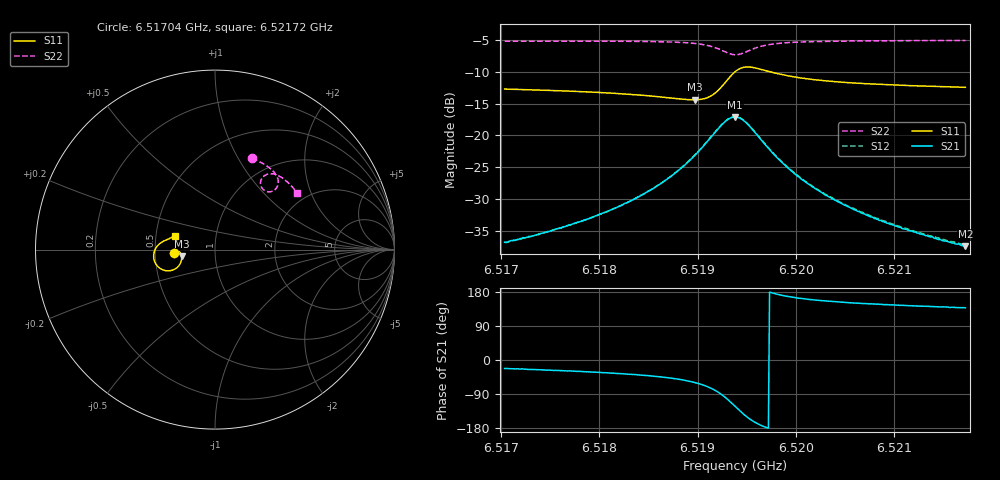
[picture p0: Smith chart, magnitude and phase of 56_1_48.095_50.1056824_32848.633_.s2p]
#  HZ  S  RI  R  50.00
! Rohde & Schwarz Vector Network Analyzer
! Rohde-Schwarz,ZNB20-2Port,1311601062101988,3.16
! Created: UTC 12/23/2023, 3:40:16 AM
! freq[Hz]  re:S11  im:S11  re:S21  im:S21  re:S12  im:S12  re:S22  im:S22
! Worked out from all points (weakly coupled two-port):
!   401 points, 6.51704 GHz to 6.52172 GHz, reference 50 ohm
!   highest |S21| = -17.10 dB at 6.51938 GHz (marker M1); lowest = -37.4 dB at 6.52172 GHz (marker M2)
!   lowest |S11| = -14.4 dB at 6.518971 GHz (marker M3), VSWR 1.47, Z = 34.2 - j2.59 ohm
!   |S11| at or under -10 dB: start of sweep to 6.519382 GHz; 6.519732 GHz to end of sweep
!   |S22| runs from -7.3 to -5.1 dB; largest |S21 - S12| = 0.0042
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6.5170401e9  -0.2302 -0.0166  0.0134 -0.00555  0.0135 -0.00503  0.2065 0.5081
6.5173677e9  -0.2267 -0.0116  0.015 -0.00709  0.0152 -0.00667  0.2307 0.498
6.517824e9  -0.2202 -0.00633  0.0182 -0.0107  0.0186 -0.0102  0.2645 0.481
6.5182218e9  -0.2122 -0.00451  0.0227 -0.0165  0.0232 -0.0158  0.2945 0.4622
6.5186079e9  -0.2006 -0.00944  0.0293 -0.0285  0.0303 -0.0276  0.3243 0.4368
6.5187951e9  -0.1931 -0.0183  0.0334 -0.0402  0.0349 -0.0393  0.339 0.4188
6.5189706e9  -0.1866 -0.0365  0.0354 -0.0597  0.0374 -0.0591  0.3503 0.3938
6.5190759e9  -0.1866 -0.0561  0.0321 -0.079  0.0346 -0.0786  0.3525 0.3724
6.5191578e9  -0.1937 -0.078  0.0224 -0.0987  0.0253 -0.0988  0.3474 0.3519
6.5192865e9  -0.237 -0.1145  -0.0219 -0.1276  -0.0183 -0.1292  0.3137 0.3233
6.5193801e9  -0.2955 -0.1107  -0.0741 -0.1183  -0.0713 -0.1212  0.2732 0.3312
6.5194386e9  -0.3255 -0.0858  -0.0982 -0.0931  -0.0963 -0.0966  0.2568 0.3523
6.5194971e9  -0.3402 -0.0537  -0.1075 -0.0634  -0.1065 -0.067  0.2539 0.3767
6.5195907e9  -0.3375 -0.00928  -0.1005 -0.0259  -0.1006 -0.0289  0.268 0.4056
6.519696e9  -0.3209 0.0204  -0.0829 -0.00314  -0.0836 -0.00562  0.2911 0.4198
6.5199183e9  -0.2898 0.0452  -0.054 0.012  -0.055 0.0105  0.3301 0.4207
6.520164e9  -0.2694 0.0547  -0.0369 0.014  -0.0378 0.0133  0.359 0.4092
6.5203044e9  -0.2615 0.0578  -0.0307 0.0139  -0.0316 0.0133  0.3718 0.4015
6.5205501e9  -0.2513 0.0619  -0.0237 0.0131  -0.0243 0.0125  0.391 0.3875
6.5209479e9  -0.2399 0.0677  -0.0166 0.0114  -0.0172 0.0111  0.4168 0.3638
6.5214276e9  -0.2301 0.0744  -0.0119 0.00981  -0.0124 0.00962  0.443 0.3347
6.5217201e9  -0.2251 0.0783  -0.00993 0.00911  -0.0105 0.00887  0.4574 0.3164
